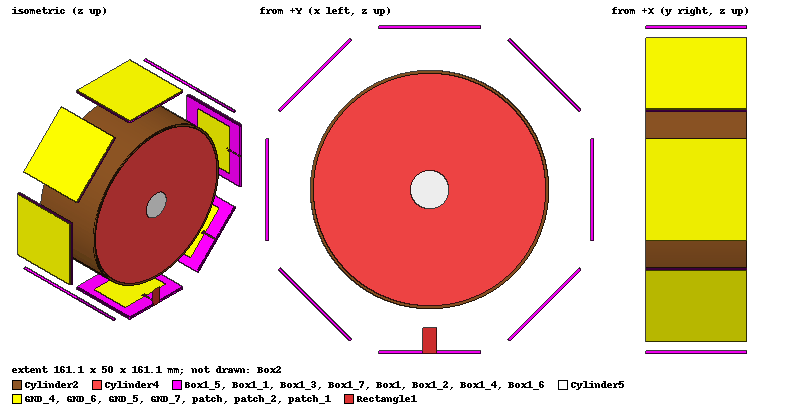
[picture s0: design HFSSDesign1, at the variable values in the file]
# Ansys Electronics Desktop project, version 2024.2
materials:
  FR4_epoxy: permittivity=4.4 dielectric_loss_tangent=0.02
  bone(cortical): permittivity=11.4 conductivity=0.788 dielectric_loss_tangent=0.51770401
  msucle: permittivity=52.8 conductivity=1.71 dielectric_loss_tangent=0.24256177
  skin: permittivity=38.1 conductivity=1.44 dielectric_loss_tangent=0.2830725
  vacuum: permittivity=1

design HFSSDesign1 (HFSS, HFSS Modal Network, model units mm)
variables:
  w = 50mm
  l = 50mm
  patchlength = 29.443143mm
  patchwidth = 38.036289mm
  h = 1.6mm
  slotlength = 2.5mm
  slotwidth = 2mm
  linewidth = 0.70918453mm
  armrad = 58.569019mm
  skinthick = 1.5mm
  bonerad = (18.84/2) mm
  d = 22mm
  w1 = 176mm
  l1 = 100mm
  z1 = 50mm
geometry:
  coordinate_system RelativeCS1 = origin=(0mm, 0mm, 0mm) x=(1mm, 0mm, 0mm) y=(0mm, 1mm, 0mm)
  GND = rectangle(corner=(-w/2, -l/2, -(d+armrad)), x_size=w, y_size=l) in RelativeCS1
  Box1 [FR4_epoxy] = box(corner=(-w/2, -l/2, -(d+armrad)), size=(l, w, h)) in RelativeCS1
  patch = rectangle(corner=(-patchwidth/2, -patchlength/2, h-(d+armrad)), x_size=patchwidth, y_size=patchlength) in RelativeCS1
  slot = rectangle(corner=(-slotwidth/2, -slotlength+patchlength/2, h-(d+armrad)), x_size=slotwidth, y_size=slotlength) in RelativeCS1
  line = rectangle(corner=(-linewidth/2, 0mm, h-(d+armrad)), x_size=linewidth, y_size=l/2) in RelativeCS1
  patch.subtract(slot)
  patch.unite(line)
  Rectangle1 = rectangle(corner=(-linewidth*5, l/2, -(d+armrad)), z_size=8*h, x_size=linewidth*10) in RelativeCS1
  Box2 [vacuum] = box(corner=(-75*h, -l/2, -75*h), size=(150*h, l, 150*h)) in RelativeCS1
  Cylinder2 [skin] = cylinder(axis=Z, base_centre=(0mm, 0mm, -l/2), radius=armrad, height=l) in RelativeCS1
  Cylinder3 = cylinder(axis=Z, base_centre=(0mm, 0mm, -l/2), radius=armrad-skinthick, height=100mm) in RelativeCS1
  Cylinder2.subtract(Cylinder3)
  Cylinder4 [msucle] = cylinder(axis=Z, base_centre=(0mm, 0mm, -l/2), radius=armrad-skinthick, height=l) in RelativeCS1
  Cylinder1 = cylinder(axis=Z, base_centre=(0mm, 0mm, -l/2), radius=bonerad, height=100mm) in RelativeCS1
  Cylinder4.subtract(Cylinder1)
  Cylinder5 [bone(cortical)] = cylinder(axis=Z, base_centre=(0mm, 0mm, -l/2), radius=bonerad, height=l) in RelativeCS1
  [Cylinder2, Cylinder4, Cylinder5].rotate(axis=X, angle=90deg) in RelativeCS1
  Box1_1..Box1_7 [FR4_epoxy] = Box1.duplicate_around_axis(axis=Y, angle=45deg, total=8) in RelativeCS1
  GND_1..GND_7 = GND.duplicate_around_axis(axis=Y, angle=45deg, total=8) in RelativeCS1
  patch_1..patch_7 = patch.duplicate_around_axis(axis=Y, angle=45deg, total=8) in RelativeCS1
  Sphere1 = sphere(centre=(0mm, 0mm, 0mm), radius=4mm) in RelativeCS1
  Sphere1.scale(1, 0.25, 0.25) in RelativeCS1
  Cylinder5.subtract(Sphere1)
  group Limb_Model = Cylinder2, Cylinder4, Cylinder5
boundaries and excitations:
  Rad1: Radiation Objects=Box2
  PerfE1: Perfect E Objects=[patch, GND]
  PerfE2: Perfect E Objects=[patch_1, GND_1]
  PerfE3: Perfect E Objects=[patch_2, GND_2]
  PerfE4: Perfect E Objects=[patch_3, GND_3]
  PerfE5: Perfect E Objects=[patch_4, GND_4]
  PerfE6: Perfect E Objects=[patch_5, GND_5]
  PerfE7: Perfect E Objects=[patch_6, GND_6]
  PerfE8: Perfect E Objects=[patch_7, GND_7]
  1: Wave Port Objects=Rectangle1 WavePortType=Modal NumModes=1 Modes{Mode1{IntLine{(0, 25, -80.569019) -> (0, 25, -67.769019)} CharImp=Zpi}}
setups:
  Setup1: HfssDriven Frequency=2.4GHz MaxDeltaS=0.02 MaximumPasses=6 MinimumPasses=1 MinimumConvergedPasses=1 PercentRefinement=30 BasisOrder=1 PortAccuracy=2 DrivenSolverType="Direct Solver"
    sweep Sweep: 1.2GHz to 3.6GHz, 401 points; Type=Fast SaveFields
  Setup2: HfssDriven Frequency=2.4GHz MaxDeltaS=0.02 MaximumPasses=6 MinimumPasses=1 MinimumConvergedPasses=1 PercentRefinement=30 BasisOrder=1 PortAccuracy=2 DrivenSolverType="Direct Solver"
    sweep Sweep: 1.8GHz to 2.8GHz, 401 points; Type=Interpolating InterpTolerance=0.5 InterpMaxSolns=250 InterpUsePortImped=false PassivityErrorTolerance=0.0001
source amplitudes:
  1:1: 1W 0deg
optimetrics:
  ParametricSetup1: Parametric Sim._Setups=[Setup1]
    sweep slotlength: LIN 2mm 6mm 0.5mm
  Distance: Parametric Sim._Setups=[Setup1]
    sweep d: LIN 1.6mm 51.6mm 2mm
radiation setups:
  Infinite Sphere1: Infinite Sphere Theta=-90deg..90deg step 90deg Phi=-180deg..180deg step 2deg
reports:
  S Parameter Plot 1: dB(S(1,1)) vs Freq on Setup1 : Sweep; markers m1 at 2.268GHz, m2 at 2.364GHz
  S Parameter Plot 2: dB(S(1,1)) vs Freq on Setup1 : Sweep [slotlength=2.5mm slotwidth=all d=3.6mm,5.6mm,7.6mm,9.6mm,11.6mm,13.6mm,15.6mm,17.6mm,18mm,19.6mm,21.6mm,22mm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]; markers m1 at 2.28GHz
  S Parameter Plot 3: dB(S(1,1)) vs Freq on Setup1 : Sweep [slotlength=2mm,2.5mm,3mm,3.5mm,4mm,4.5mm,5mm,5.5mm,6mm,9.25mm slotwidth=2mm,3mm]
  S Parameter Plot 4: dB(S(1,1)) vs Freq on Setup1 : Sweep [slotlength=all d=2mm,4mm,6mm,8mm,10mm,12mm,14mm,16mm,18mm,20mm,22mm,24mm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]; markers 10mm at 2.382GHz, 16mm at 2.364GHz
  S Parameter Plot 5: dB(S(1,1)) vs Freq on Setup1 : Sweep [slotlength=all d=all]
  S Parameter Plot 6: dB(S(1,1)) vs Freq on Setup1 : Sweep [slotlength=all d=all]
